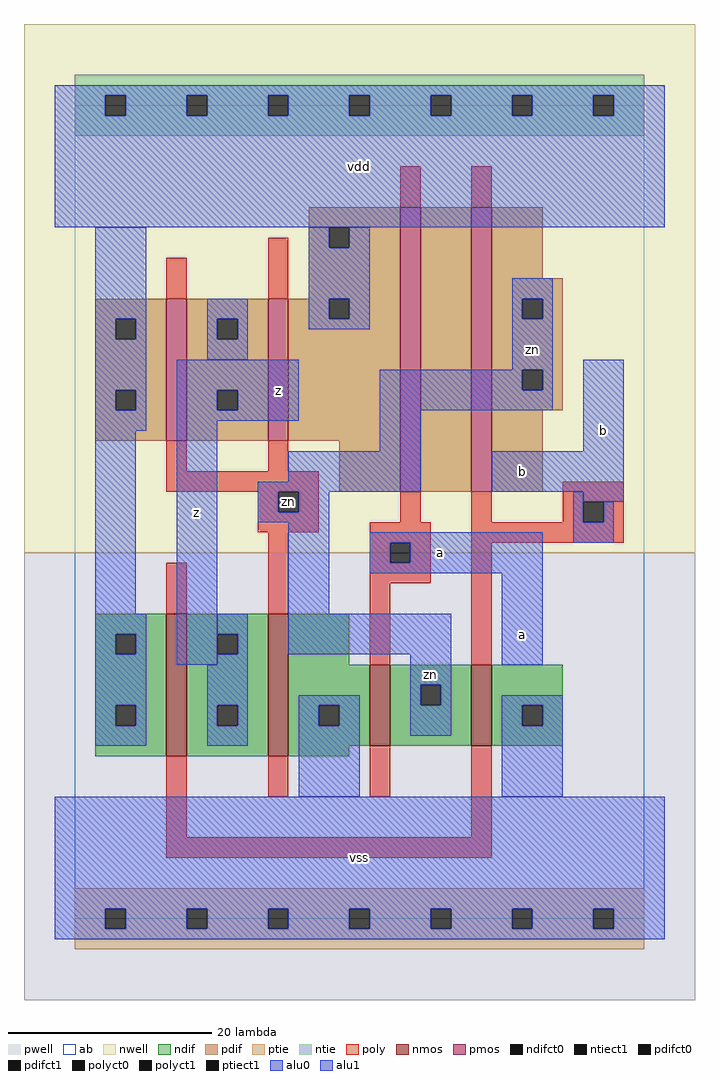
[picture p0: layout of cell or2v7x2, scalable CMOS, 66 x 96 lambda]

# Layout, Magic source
magic
tech scmos
<< ab >>
rect 0 0 56 80
<< nwell >>
rect -5 36 61 88
<< pwell >>
rect -5 -8 61 36
<< poly >>
rect 32 70 34 74
rect 39 70 41 74
rect 9 61 11 65
rect 19 61 21 67
rect 9 44 11 47
rect 19 44 21 47
rect 9 42 24 44
rect 18 40 20 42
rect 22 40 24 42
rect 18 38 24 40
rect 32 39 34 42
rect 39 39 41 42
rect 48 41 54 43
rect 48 39 50 41
rect 52 39 54 41
rect 9 30 11 35
rect 19 30 21 38
rect 29 37 35 39
rect 29 35 31 37
rect 33 35 35 37
rect 29 33 35 35
rect 39 37 54 39
rect 29 25 31 33
rect 39 25 41 37
rect 9 8 11 16
rect 19 12 21 16
rect 29 12 31 17
rect 39 8 41 17
rect 9 6 41 8
<< ndif >>
rect 2 28 9 30
rect 2 26 4 28
rect 6 26 9 28
rect 2 21 9 26
rect 2 19 4 21
rect 6 19 9 21
rect 2 16 9 19
rect 11 28 19 30
rect 11 26 14 28
rect 16 26 19 28
rect 11 21 19 26
rect 11 19 14 21
rect 16 19 19 21
rect 11 16 19 19
rect 21 25 27 30
rect 21 21 29 25
rect 21 19 24 21
rect 26 19 29 21
rect 21 17 29 19
rect 31 23 39 25
rect 31 21 34 23
rect 36 21 39 23
rect 31 17 39 21
rect 41 21 48 25
rect 41 19 44 21
rect 46 19 48 21
rect 41 17 48 19
rect 21 16 27 17
<< pdif >>
rect 23 68 32 70
rect 23 66 25 68
rect 27 66 32 68
rect 23 61 32 66
rect 2 59 9 61
rect 2 57 4 59
rect 6 57 9 59
rect 2 52 9 57
rect 2 50 4 52
rect 6 50 9 52
rect 2 47 9 50
rect 11 59 19 61
rect 11 57 14 59
rect 16 57 19 59
rect 11 52 19 57
rect 11 50 14 52
rect 16 50 19 52
rect 11 47 19 50
rect 21 59 25 61
rect 27 59 32 61
rect 21 47 32 59
rect 26 42 32 47
rect 34 42 39 70
rect 41 63 46 70
rect 41 61 48 63
rect 41 59 44 61
rect 46 59 48 61
rect 41 54 48 59
rect 41 52 44 54
rect 46 52 48 54
rect 41 50 48 52
rect 41 42 46 50
<< alu1 >>
rect -2 81 58 82
rect -2 79 3 81
rect 5 79 11 81
rect 13 79 19 81
rect 21 79 27 81
rect 29 79 35 81
rect 37 79 43 81
rect 45 79 51 81
rect 53 79 58 81
rect -2 68 58 79
rect 10 52 22 55
rect 10 50 14 52
rect 16 50 22 52
rect 10 49 22 50
rect 10 25 14 49
rect 50 46 54 55
rect 41 42 54 46
rect 50 41 54 42
rect 29 37 46 38
rect 29 35 31 37
rect 33 35 46 37
rect 29 34 46 35
rect 42 25 46 34
rect -2 1 58 12
rect -2 -1 3 1
rect 5 -1 11 1
rect 13 -1 19 1
rect 21 -1 27 1
rect 29 -1 35 1
rect 37 -1 43 1
rect 45 -1 51 1
rect 53 -1 58 1
rect -2 -2 58 -1
<< ptie >>
rect 0 1 56 3
rect 0 -1 3 1
rect 5 -1 11 1
rect 13 -1 19 1
rect 21 -1 27 1
rect 29 -1 35 1
rect 37 -1 43 1
rect 45 -1 51 1
rect 53 -1 56 1
rect 0 -3 56 -1
<< ntie >>
rect 0 81 56 83
rect 0 79 3 81
rect 5 79 11 81
rect 13 79 19 81
rect 21 79 27 81
rect 29 79 35 81
rect 37 79 43 81
rect 45 79 51 81
rect 53 79 56 81
rect 0 77 56 79
<< nmos >>
rect 9 16 11 30
rect 19 16 21 30
rect 29 17 31 25
rect 39 17 41 25
<< pmos >>
rect 9 47 11 61
rect 19 47 21 61
rect 32 42 34 70
rect 39 42 41 70
<< polyct0 >>
rect 20 40 22 42
rect 50 39 52 41
<< polyct1 >>
rect 31 35 33 37
<< ndifct0 >>
rect 4 26 6 28
rect 4 19 6 21
rect 14 26 16 28
rect 14 19 16 21
rect 24 19 26 21
rect 34 21 36 23
rect 44 19 46 21
<< ntiect1 >>
rect 3 79 5 81
rect 11 79 13 81
rect 19 79 21 81
rect 27 79 29 81
rect 35 79 37 81
rect 43 79 45 81
rect 51 79 53 81
<< ptiect1 >>
rect 3 -1 5 1
rect 11 -1 13 1
rect 19 -1 21 1
rect 27 -1 29 1
rect 35 -1 37 1
rect 43 -1 45 1
rect 51 -1 53 1
<< pdifct0 >>
rect 25 66 27 68
rect 4 57 6 59
rect 4 50 6 52
rect 14 57 16 59
rect 25 59 27 61
rect 44 59 46 61
rect 44 52 46 54
<< pdifct1 >>
rect 14 50 16 52
<< alu0 >>
rect 2 59 7 68
rect 23 66 25 68
rect 27 66 29 68
rect 23 61 29 66
rect 2 57 4 59
rect 6 57 7 59
rect 2 52 7 57
rect 13 59 17 61
rect 13 57 14 59
rect 16 57 17 59
rect 23 59 25 61
rect 27 59 29 61
rect 23 58 29 59
rect 43 61 47 63
rect 43 59 44 61
rect 46 59 47 61
rect 13 55 17 57
rect 2 50 4 52
rect 6 50 7 52
rect 2 48 7 50
rect 43 54 47 59
rect 30 52 44 54
rect 46 52 47 54
rect 30 50 47 52
rect 2 30 6 48
rect 2 28 7 30
rect 2 26 4 28
rect 6 26 7 28
rect 2 21 7 26
rect 30 46 34 50
rect 21 43 34 46
rect 18 42 34 43
rect 18 40 20 42
rect 22 40 25 42
rect 18 39 25 40
rect 21 30 25 39
rect 49 39 50 42
rect 52 39 53 41
rect 49 37 53 39
rect 14 28 17 30
rect 16 26 17 28
rect 21 26 37 30
rect 14 25 17 26
rect 2 19 4 21
rect 6 19 7 21
rect 2 17 7 19
rect 13 21 17 25
rect 33 23 37 26
rect 13 19 14 21
rect 16 19 17 21
rect 13 17 17 19
rect 22 21 28 22
rect 22 19 24 21
rect 26 19 28 21
rect 22 12 28 19
rect 33 21 34 23
rect 36 21 37 23
rect 33 18 37 21
rect 42 21 48 22
rect 42 19 44 21
rect 46 19 48 21
rect 42 12 48 19
<< labels >>
rlabel polyct0 21 41 21 41 6 zn
rlabel alu0 35 24 35 24 6 zn
rlabel alu0 45 56 45 56 6 zn
rlabel alu1 12 40 12 40 6 z
rlabel alu1 20 52 20 52 6 z
rlabel alu1 28 6 28 6 6 vss
rlabel alu1 36 36 36 36 6 a
rlabel alu1 28 74 28 74 6 vdd
rlabel alu1 44 28 44 28 6 a
rlabel alu1 44 44 44 44 6 b
rlabel alu1 52 48 52 48 6 b
<< end >>
